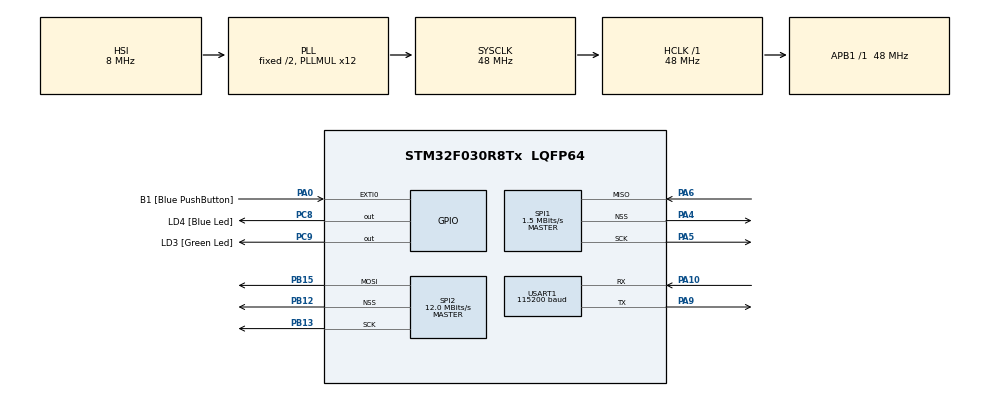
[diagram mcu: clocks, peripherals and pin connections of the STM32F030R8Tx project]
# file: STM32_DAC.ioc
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Dma.Request0=USART1_TX
Dma.USART1_TX.0.Direction=DMA_MEMORY_TO_PERIPH
Dma.USART1_TX.0.Instance=DMA1_Channel2
Dma.USART1_TX.0.MemDataAlignment=DMA_MDATAALIGN_BYTE
Dma.USART1_TX.0.MemInc=DMA_MINC_ENABLE
Dma.USART1_TX.0.Mode=DMA_NORMAL
Dma.USART1_TX.0.PeriphDataAlignment=DMA_PDATAALIGN_BYTE
Dma.USART1_TX.0.PeriphInc=DMA_PINC_DISABLE
Dma.USART1_TX.0.Priority=DMA_PRIORITY_LOW
Mcu.Family=STM32F0
Mcu.Name=STM32F030R8Tx
Mcu.Package=LQFP64
NVIC.DMA1_Channel2_3_IRQn=true\:0\:0\:false\:false\:true\:false\:true
NVIC.SPI2_IRQn=true\:0\:0\:false\:false\:true\:true\:true
NVIC.USART1_IRQn=true\:0\:0\:false\:false\:true\:true\:true
PA0.GPIO_Label=B1 [Blue PushButton]
PA0.GPIO_ModeDefaultEXTI=GPIO_MODE_EVT_RISING
PA0.Signal=GPXTI0
PA10.Mode=Asynchronous
PA10.Signal=USART1_RX
PA13.GPIO_Label=SWDIO
PA13.Mode=Serial_Wire
PA13.Signal=SYS_SWDIO
PA14.GPIO_Label=SWCLK
PA14.Mode=Serial_Wire
PA14.Signal=SYS_SWCLK
PA4.Mode=NSS_Signal_Hard_Output
PA4.Signal=SPI1_NSS
PA5.Mode=RX_Only_Simplex_Unidirect_Master
PA5.Signal=SPI1_SCK
PA6.Mode=RX_Only_Simplex_Unidirect_Master
PA6.Signal=SPI1_MISO
PA9.Mode=Asynchronous
PA9.Signal=USART1_TX
PB12.Mode=NSS_Signal_Hard_Output
PB12.Signal=SPI2_NSS
PB13.Mode=TX_Only_Simplex_Unidirect_Master
PB13.Signal=SPI2_SCK
PB15.Mode=TX_Only_Simplex_Unidirect_Master
PB15.Signal=SPI2_MOSI
PC8.GPIO_Label=LD4 [Blue Led]
PC8.Signal=GPIO_Output
PC9.GPIO_Label=LD3 [Green Led]
PC9.Signal=GPIO_Output
ProjectManager.HeapSize=0x200
ProjectManager.StackSize=0x400
ProjectManager.TargetToolchain=Makefile
RCC.AHBFreq_Value=48000000
RCC.APB1Freq_Value=48000000
RCC.APB1TimFreq_Value=48000000
RCC.HCLKFreq_Value=48000000
RCC.PLLMUL=RCC_PLL_MUL12
RCC.SYSCLKFreq_VALUE=48000000
RCC.SYSCLKSource=RCC_SYSCLKSOURCE_PLLCLK
SPI1.BaudRatePrescaler=SPI_BAUDRATEPRESCALER_32
SPI1.CalculateBaudRate=1.5 MBits/s
SPI1.DataSize=SPI_DATASIZE_13BIT
SPI1.Direction=SPI_DIRECTION_2LINES_RXONLY
SPI1.Mode=SPI_MODE_MASTER
SPI1.VirtualNSS=VM_NSSHARD
SPI1.VirtualType=VM_MASTER
SPI2.BaudRatePrescaler=SPI_BAUDRATEPRESCALER_4
SPI2.CalculateBaudRate=12.0 MBits/s
SPI2.DataSize=SPI_DATASIZE_16BIT
SPI2.Direction=SPI_DIRECTION_2LINES
SPI2.Mode=SPI_MODE_MASTER
SPI2.VirtualNSS=VM_NSSHARD
SPI2.VirtualType=VM_MASTER
USART1.BaudRate=115200
USART1.VirtualMode-Asynchronous=VM_ASYNC
board=STM32F0308-DISCO

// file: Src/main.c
/* USER CODE BEGIN Header */
/**
  ******************************************************************************
  * @file           : main.c
  * @brief          : Main program body
  ******************************************************************************
  * @attention
  *
  * <h2><center>&copy; Copyright (c) 2020 STMicroelectronics.
  * All rights reserved.</center></h2>
  *
  * This software component is licensed by ST under BSD 3-Clause license,
  * the "License"; You may not use this file except in compliance with the
  * License. You may obtain a copy of the License at:
  *                        opensource.org/licenses/BSD-3-Clause
  *
  ******************************************************************************
  */
/* USER CODE END Header */
#include "main.h"

/* USER CODE BEGIN Includes */

#include "MCP4922.h"
#include <stdio.h>
#include "sineLookUp.h"
#include "string.h"
#include "math.h"

/* USER CODE END Includes */

/* USER CODE BEGIN PM */
#define DEBUG 1

/* USER CODE END PM */

SPI_HandleTypeDef hspi1;
SPI_HandleTypeDef hspi2;

UART_HandleTypeDef huart1;
DMA_HandleTypeDef hdma_usart1_tx;

/* USER CODE BEGIN PV */
MCP4922_Handle_Typedef dac;

extern const uint16_t sineLookUpTable[1024];
extern const uint16_t tableSize;

//Other useful variabels
uint16_t timeout = 1000;
uint16_t spiBuffer[2];
uint16_t spiRXBuffer[5];

uint8_t decimationFactor = 20;
uint8_t debugBuffer[70];

/* USER CODE END PV */

void SystemClock_Config(void);
static void MX_GPIO_Init(void);
static void MX_DMA_Init(void);
static void MX_SPI2_Init(void);
static void MX_USART1_UART_Init(void);
static void MX_SPI1_Init(void);

int main(void)
{

  /* MCU Configuration--------------------------------------------------------*/

  /* Reset of all peripherals, Initializes the Flash interface and the Systick. */
  HAL_Init();

  /* Configure the system clock */
  SystemClock_Config();

  /* Initialize all configured peripherals */
  MX_GPIO_Init();
  MX_DMA_Init();
  MX_SPI2_Init();
  MX_USART1_UART_Init();
  MX_SPI1_Init();
  /* USER CODE BEGIN 2 */

  // Provide basic configurations for DAC
  MCP4922SetChannelStatus(&dac, ACTIVE);
  MCP4922SetChannelGain(&dac, X1);

  /* USER CODE END 2 */

  /* Infinite loop */
  while (1)
  {

    /* USER CODE BEGIN 3 */
    for (uint16_t index = 0; index < tableSize; index++) {

      //Update the channel value from lookup table
      MCP4922SetChannelValue(&dac,sineLookUpTable[index]);

      MCP4922SetChannel(&dac,A);
      uint16_t dataframeA = createDACFrame(&dac);

      MCP4922SetChannel(&dac,A);
      uint16_t dataframeB = createDACFrame(&dac);

      spiBuffer[0] = dataframeA;
      spiBuffer[1] = dataframeB;

      //Write to DAC over SPI using interrupts
      HAL_StatusTypeDef spiTXError = HAL_SPI_Transmit_IT(&hspi2, (uint8_t*)spiBuffer, sizeof(spiBuffer)/sizeof(uint16_t));

      //Receive readings from ADC synchronously
      HAL_StatusTypeDef spiRXError = HAL_SPI_Receive(&hspi1, &spiRXBuffer, 10, timeout);

      for (uint8_t reading = 0; reading < 10; reading++){

        //Remove 6 first most significant bits
        spiRXBuffer[reading] &= 0x03FF;

      }

      // Provide Feedback about state of UART and SPI
      if (DEBUG) {
        HAL_UART_StateTypeDef uartState = HAL_UART_GetState(&huart1);

        uint16_t adcReading = spiRXBuffer[4]*4;
        int8_t dacAdcDifference = sineLookUpTable[index] - adcReading;

        sprintf(debugBuffer, "Sample: %d, ADC: %d, DIFF: %d \r\n ", sineLookUpTable[index], adcReading, dacAdcDifference);
        HAL_StatusTypeDef uartDmaError = HAL_UART_Transmit (&huart1, (uint8_t*)debugBuffer, strlen(debugBuffer),100);
      }

    }
  }
  /* USER CODE END 3 */
}

void SystemClock_Config(void)
{
  RCC_OscInitTypeDef RCC_OscInitStruct = {0};
  RCC_ClkInitTypeDef RCC_ClkInitStruct = {0};
  RCC_PeriphCLKInitTypeDef PeriphClkInit = {0};

  /** Initializes the RCC Oscillators according to the specified parameters
  * in the RCC_OscInitTypeDef structure.
  */
  RCC_OscInitStruct.OscillatorType = RCC_OSCILLATORTYPE_HSI;
  RCC_OscInitStruct.HSIState = RCC_HSI_ON;
  RCC_OscInitStruct.HSICalibrationValue = RCC_HSICALIBRATION_DEFAULT;
  RCC_OscInitStruct.PLL.PLLState = RCC_PLL_ON;
  RCC_OscInitStruct.PLL.PLLSource = RCC_PLLSOURCE_HSI;
  RCC_OscInitStruct.PLL.PLLMUL = RCC_PLL_MUL12;
  RCC_OscInitStruct.PLL.PREDIV = RCC_PREDIV_DIV1;
  if (HAL_RCC_OscConfig(&RCC_OscInitStruct) != HAL_OK)
  {
    Error_Handler();
  }
  /** Initializes the CPU, AHB and APB buses clocks
  */
  RCC_ClkInitStruct.ClockType = RCC_CLOCKTYPE_HCLK|RCC_CLOCKTYPE_SYSCLK
                              |RCC_CLOCKTYPE_PCLK1;
  RCC_ClkInitStruct.SYSCLKSource = RCC_SYSCLKSOURCE_PLLCLK;
  RCC_ClkInitStruct.AHBCLKDivider = RCC_SYSCLK_DIV1;
  RCC_ClkInitStruct.APB1CLKDivider = RCC_HCLK_DIV1;

  if (HAL_RCC_ClockConfig(&RCC_ClkInitStruct, FLASH_LATENCY_1) != HAL_OK)
  {
    Error_Handler();
  }
  PeriphClkInit.PeriphClockSelection = RCC_PERIPHCLK_USART1;
  PeriphClkInit.Usart1ClockSelection = RCC_USART1CLKSOURCE_PCLK1;
  if (HAL_RCCEx_PeriphCLKConfig(&PeriphClkInit) != HAL_OK)
  {
    Error_Handler();
  }
}

static void MX_SPI1_Init(void)
{

  /* SPI1 parameter configuration*/
  hspi1.Instance = SPI1;
  hspi1.Init.Mode = SPI_MODE_MASTER;
  hspi1.Init.Direction = SPI_DIRECTION_2LINES_RXONLY;
  hspi1.Init.DataSize = SPI_DATASIZE_13BIT;
  hspi1.Init.CLKPolarity = SPI_POLARITY_LOW;
  hspi1.Init.CLKPhase = SPI_PHASE_1EDGE;
  hspi1.Init.NSS = SPI_NSS_HARD_OUTPUT;
  hspi1.Init.BaudRatePrescaler = SPI_BAUDRATEPRESCALER_32;
  hspi1.Init.FirstBit = SPI_FIRSTBIT_MSB;
  hspi1.Init.TIMode = SPI_TIMODE_DISABLE;
  hspi1.Init.CRCCalculation = SPI_CRCCALCULATION_DISABLE;
  hspi1.Init.CRCPolynomial = 7;
  hspi1.Init.CRCLength = SPI_CRC_LENGTH_DATASIZE;
  hspi1.Init.NSSPMode = SPI_NSS_PULSE_ENABLE;
  if (HAL_SPI_Init(&hspi1) != HAL_OK)
  {
    Error_Handler();
  }

}

static void MX_SPI2_Init(void)
{

  /* SPI2 parameter configuration*/
  hspi2.Instance = SPI2;
  hspi2.Init.Mode = SPI_MODE_MASTER;
  hspi2.Init.Direction = SPI_DIRECTION_2LINES;
  hspi2.Init.DataSize = SPI_DATASIZE_16BIT;
  hspi2.Init.CLKPolarity = SPI_POLARITY_LOW;
  hspi2.Init.CLKPhase = SPI_PHASE_1EDGE;
  hspi2.Init.NSS = SPI_NSS_HARD_OUTPUT;
  hspi2.Init.BaudRatePrescaler = SPI_BAUDRATEPRESCALER_4;
  hspi2.Init.FirstBit = SPI_FIRSTBIT_MSB;
  hspi2.Init.TIMode = SPI_TIMODE_DISABLE;
  hspi2.Init.CRCCalculation = SPI_CRCCALCULATION_DISABLE;
  hspi2.Init.CRCPolynomial = 7;
  hspi2.Init.CRCLength = SPI_CRC_LENGTH_DATASIZE;
  hspi2.Init.NSSPMode = SPI_NSS_PULSE_ENABLE;
  if (HAL_SPI_Init(&hspi2) != HAL_OK)
  {
    Error_Handler();
  }

}

static void MX_USART1_UART_Init(void)
{

  huart1.Instance = USART1;
  huart1.Init.BaudRate = 115200;
  huart1.Init.WordLength = UART_WORDLENGTH_8B;
  huart1.Init.StopBits = UART_STOPBITS_1;
  huart1.Init.Parity = UART_PARITY_NONE;
  huart1.Init.Mode = UART_MODE_TX_RX;
  huart1.Init.HwFlowCtl = UART_HWCONTROL_NONE;
  huart1.Init.OverSampling = UART_OVERSAMPLING_16;
  huart1.Init.OneBitSampling = UART_ONE_BIT_SAMPLE_DISABLE;
  huart1.AdvancedInit.AdvFeatureInit = UART_ADVFEATURE_NO_INIT;
  if (HAL_UART_Init(&huart1) != HAL_OK)
  {
    Error_Handler();
  }

}

static void MX_DMA_Init(void)
{

  /* DMA controller clock enable */
  __HAL_RCC_DMA1_CLK_ENABLE();

  /* DMA interrupt init */
  /* DMA1_Channel2_3_IRQn interrupt configuration */
  HAL_NVIC_SetPriority(DMA1_Channel2_3_IRQn, 0, 0);
  HAL_NVIC_EnableIRQ(DMA1_Channel2_3_IRQn);

}

static void MX_GPIO_Init(void)
{
  GPIO_InitTypeDef GPIO_InitStruct = {0};

  /* GPIO Ports Clock Enable */
  __HAL_RCC_GPIOA_CLK_ENABLE();
  __HAL_RCC_GPIOB_CLK_ENABLE();
  __HAL_RCC_GPIOC_CLK_ENABLE();

  /*Configure GPIO pin Output Level */
  HAL_GPIO_WritePin(GPIOC, LD4_Pin|LD3_Pin, GPIO_PIN_RESET);

  /*Configure GPIO pin : B1_Pin */
  GPIO_InitStruct.Pin = B1_Pin;
  GPIO_InitStruct.Mode = GPIO_MODE_EVT_RISING;
  GPIO_InitStruct.Pull = GPIO_NOPULL;
  HAL_GPIO_Init(B1_GPIO_Port, &GPIO_InitStruct);

  /*Configure GPIO pins : LD4_Pin LD3_Pin */
  GPIO_InitStruct.Pin = LD4_Pin|LD3_Pin;
  GPIO_InitStruct.Mode = GPIO_MODE_OUTPUT_PP;
  GPIO_InitStruct.Pull = GPIO_NOPULL;
  GPIO_InitStruct.Speed = GPIO_SPEED_FREQ_LOW;
  HAL_GPIO_Init(GPIOC, &GPIO_InitStruct);

}

void Error_Handler(void)
{
}

/************************ (C) COPYRIGHT STMicroelectronics *****END OF FILE****/
